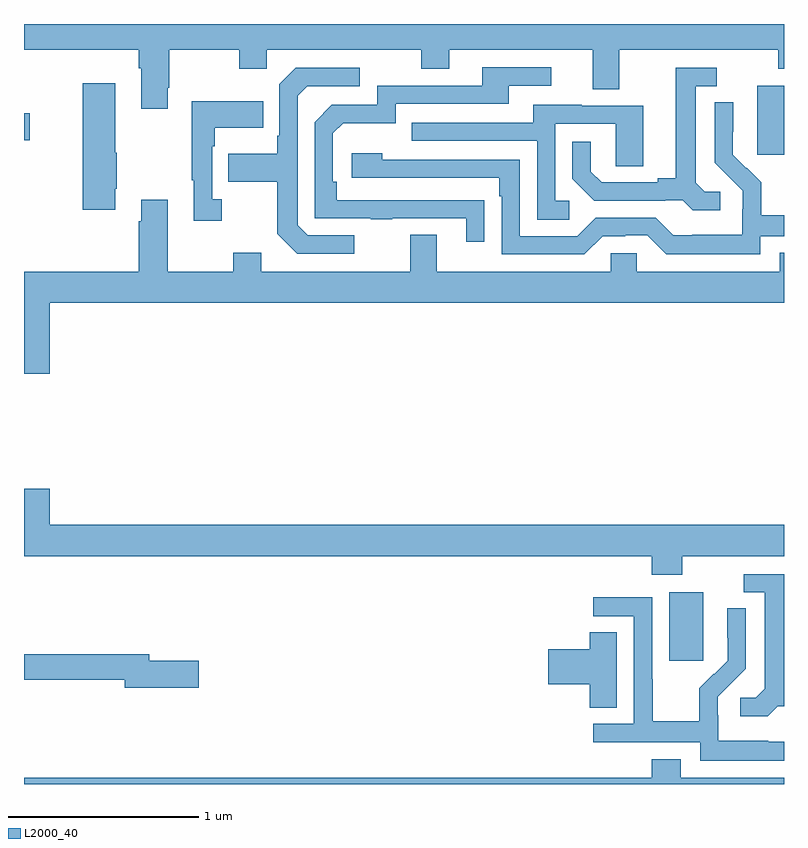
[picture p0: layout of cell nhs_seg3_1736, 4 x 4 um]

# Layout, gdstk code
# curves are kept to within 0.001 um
import gdstk
lib = gdstk.Library(unit=1e-6, precision=1e-09)
def R(c, l, rs):  # rectangles x0, y0, x1, y1
    for r in rs: c.add(gdstk.rectangle(r[:2], r[2:], *l))
def P(c, l, *ps):  # polygons
    for p in ps: c.add(gdstk.Polygon(p, *l))
L2000_40 = (2000, 40)

nhs_seg3_1736 = lib.new_cell('nhs_seg3_1736')
R(nhs_seg3_1736, L2000_40, [(204.395,683.049,204.574,683.41), (204.86,685.713,205,686.074), (201,685.787,201.031,685.929)])
P(nhs_seg3_1736, L2000_40, [(201.757,686.065),(201.765,686.065),(201.765,686.264),(202.132,686.264),(202.132,686.165),(202.278,686.165),(202.278,686.264),(203.092,686.264),(203.092,686.165),(203.239,686.165),(203.239,686.264),(203.993,686.264),(203.993,686.056),(204.133,686.056),(204.133,686.264),(204.97,686.264),(204.97,686.165),(205,686.165),(205,686.4),(201,686.4),(201,686.264),(201.605,686.264),(201.605,686.168),(201.617,686.168),(201.617,685.953),(201.757,685.953)],
  [(203.423,685.472),(202.646,685.473),(202.646,685.57),(202.626,685.57),(202.626,685.824),(202.679,685.877),(202.956,685.877),(202.956,685.98),(203.551,685.98),(203.551,686.076),(203.776,686.076),(203.776,686.172),(203.411,686.172),(203.411,686.076),(202.86,686.076),(202.86,685.974),(202.62,685.974),(202.53,685.884),(202.53,685.377),(202.825,685.377),(202.825,685.372),(202.937,685.372),(202.937,685.377),(203.327,685.377),(203.327,685.254),(203.423,685.254)],
  [(202.738,685.287),(202.494,685.287),(202.44,685.341),(202.44,686.022),(202.491,686.073),(202.768,686.073),(202.768,686.169),(202.431,686.169),(202.344,686.082),(202.344,685.813),(202.332,685.813),(202.332,685.717),(202.075,685.717),(202.075,685.57),(202.332,685.57),(202.332,685.297),(202.437,685.191),(202.738,685.191)],
  [(204.664,685.518),(204.582,685.518),(204.535,685.565),(204.535,686.073),(204.646,686.073),(204.646,686.169),(204.431,686.169),(204.431,685.589),(204.335,685.589),(204.335,685.566),(204.04,685.566),(203.983,685.623),(203.983,685.78),(203.886,685.78),(203.886,685.586),(204.002,685.47),(204.374,685.47),(204.374,685.473),(204.468,685.473),(204.52,685.421),(204.664,685.421)],
  [(201.481,685.534),(201.489,685.534),(201.489,685.723),(201.481,685.723),(201.481,686.089),(201.308,686.089),(201.308,685.422),(201.481,685.422)],
  [(202.042,685.478),(201.99,685.478),(201.99,685.757),(202.003,685.757),(202.003,685.853),(202.259,685.853),(202.259,685.993),(201.882,685.993),(201.882,685.577),(201.893,685.577),(201.893,685.365),(202.042,685.365)],
  [(204.876,685.284),(205,685.284),(205,685.393),(204.881,685.393),(204.881,685.567),(204.804,685.644),(204.801,685.641),(204.731,685.712),(204.732,685.988),(204.636,685.988),(204.636,685.67),(204.782,685.522),(204.782,685.425),(204.78,685.425),(204.78,685.291),(204.517,685.291),(204.517,685.287),(204.417,685.287),(204.324,685.38),(204.009,685.38),(203.913,685.284),(203.61,685.284),(203.61,685.686),(202.886,685.686),(202.886,685.72),(202.725,685.72),(202.725,685.59),(203.501,685.59),(203.501,685.493),(203.514,685.493),(203.514,685.188),(203.949,685.188),(204.045,685.284),(204.164,685.284),(204.164,685.287),(204.279,685.287),(204.379,685.187),(204.876,685.187)],
  [(203.869,685.47),(203.796,685.47),(203.796,685.875),(204.114,685.875),(204.114,685.651),(204.259,685.651),(204.259,685.971),(203.935,685.971),(203.935,685.975),(203.681,685.975),(203.681,685.881),(203.041,685.881),(203.041,685.785),(203.7,685.785),(203.7,685.369),(203.869,685.369)],
  [(201.136,684.932),(205,684.932),(205,685.195),(204.977,685.195),(204.977,685.096),(204.225,685.096),(204.225,685.194),(204.087,685.194),(204.087,685.096),(203.173,685.096),(203.173,685.291),(203.033,685.291),(203.033,685.096),(202.249,685.096),(202.249,685.195),(202.102,685.195),(202.102,685.096),(201.757,685.096),(201.757,685.474),(201.617,685.474),(201.617,685.361),(201.605,685.361),(201.605,685.096),(201,685.096),(201,684.558),(201.136,684.558)],
  [(204.465,683.6),(205,683.6),(205,683.764),(201.136,683.764),(201.136,683.953),(201,683.953),(201,683.6),(204.305,683.6),(204.305,683.501),(204.465,683.501)],
  [(204.966,682.809),(205,682.809),(205,683.505),(204.789,683.505),(204.789,683.409),(204.899,683.409),(204.899,682.901),(204.852,682.854),(204.771,682.854),(204.771,682.757),(204.914,682.757)],
  [(205,682.623),(204.917,682.623),(204.917,682.627),(204.654,682.627),(204.654,682.761),(204.652,682.761),(204.652,682.858),(204.798,683.006),(204.798,683.324),(204.702,683.324),(204.702,683.17),(204.704,683.17),(204.704,683.048),(204.633,682.977),(204.63,682.98),(204.553,682.903),(204.553,682.729),(204.309,682.729),(204.309,682.952),(204.306,682.952),(204.306,683.382),(203.997,683.382),(203.997,683.283),(204.21,683.283),(204.21,682.716),(203.997,682.716),(203.997,682.62),(204.558,682.62),(204.558,682.523),(205,682.523)],
  [(204.121,683.198),(203.978,683.198),(203.978,683.108),(203.76,683.108),(203.76,682.925),(203.978,682.925),(203.978,682.801),(204.121,682.801)],
  [(201.919,683.048),(201.658,683.048),(201.658,683.084),(201,683.084),(201,682.948),(201.53,682.948),(201.53,682.906),(201.919,682.906)],
  [(205,682.432),(204.457,682.432),(204.457,682.531),(204.305,682.531),(204.305,682.432),(201,682.432),(201,682.4),(205,682.4)])

lib.write_gds('nhs_seg3_1736.gds')
